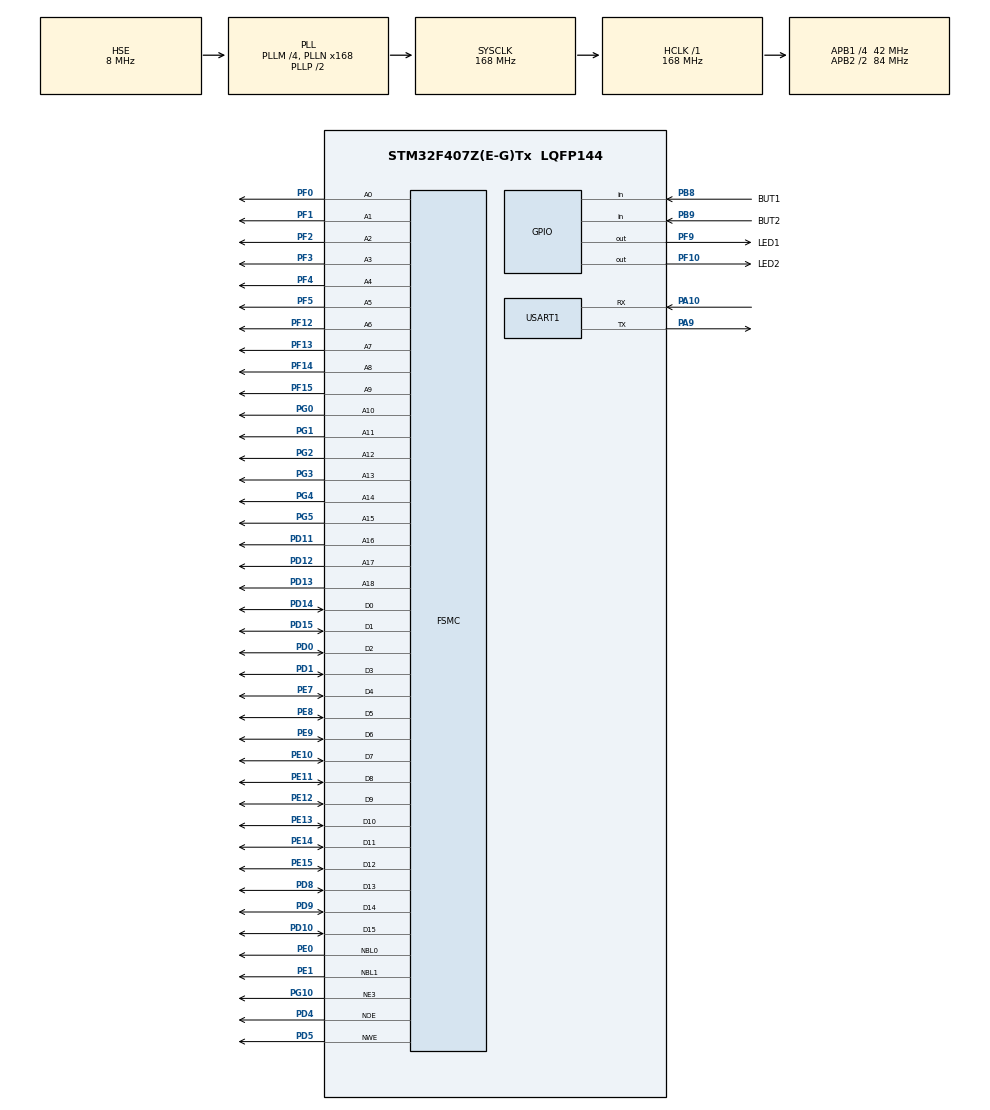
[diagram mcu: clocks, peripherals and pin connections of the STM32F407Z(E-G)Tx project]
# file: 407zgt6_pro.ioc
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FSMC.AddressSetupTime1=10
FSMC.BusTurnAroundDuration1=1
FSMC.DataSetupTime1=5
FSMC.WriteOperation1=FSMC_WRITE_OPERATION_ENABLE
Mcu.Family=STM32F4
Mcu.Name=STM32F407Z(E-G)Tx
Mcu.Package=LQFP144
NVIC.PriorityGroup=NVIC_PRIORITYGROUP_4
PA10.Mode=Asynchronous
PA10.Signal=USART1_RX
PA13.Mode=Trace_Asynchronous_SW
PA13.Signal=SYS_JTMS-SWDIO
PA14.Mode=Trace_Asynchronous_SW
PA14.Signal=SYS_JTCK-SWCLK
PA9.Mode=Asynchronous
PA9.Signal=USART1_TX
PB3.Mode=Trace_Asynchronous_SW
PB3.Signal=SYS_JTDO-SWO
PB8.GPIO_Label=BUT1
PB8.GPIO_PuPd=GPIO_PULLUP
PB8.Signal=GPIO_Input
PB9.GPIO_Label=BUT2
PB9.GPIO_PuPd=GPIO_PULLUP
PB9.Signal=GPIO_Input
PC14-OSC32_IN.Mode=LSE-External-Oscillator
PC14-OSC32_IN.Signal=RCC_OSC32_IN
PC15-OSC32_OUT.Mode=LSE-External-Oscillator
PC15-OSC32_OUT.Signal=RCC_OSC32_OUT
PD0.Signal=FSMC_D2_DA2
PD1.Signal=FSMC_D3_DA3
PD10.Signal=FSMC_D15_DA15
PD11.Signal=FSMC_A16_CLE
PD12.Signal=FSMC_A17_ALE
PD13.Signal=FSMC_A18
PD14.Signal=FSMC_D0_DA0
PD15.Signal=FSMC_D1_DA1
PD4.Signal=FSMC_NOE
PD5.Signal=FSMC_NWE
PD8.Signal=FSMC_D13_DA13
PD9.Signal=FSMC_D14_DA14
PE0.Signal=FSMC_NBL0
PE1.Signal=FSMC_NBL1
PE10.Signal=FSMC_D7_DA7
PE11.Signal=FSMC_D8_DA8
PE12.Signal=FSMC_D9_DA9
PE13.Signal=FSMC_D10_DA10
PE14.Signal=FSMC_D11_DA11
PE15.Signal=FSMC_D12_DA12
PE7.Signal=FSMC_D4_DA4
PE8.Signal=FSMC_D5_DA5
PE9.Signal=FSMC_D6_DA6
PF0.Signal=FSMC_A0
PF1.Signal=FSMC_A1
PF10.GPIO_Label=LED2
PF10.Signal=GPIO_Output
PF12.Signal=FSMC_A6
PF13.Signal=FSMC_A7
PF14.Signal=FSMC_A8
PF15.Signal=FSMC_A9
PF2.Signal=FSMC_A2
PF3.Signal=FSMC_A3
PF4.Signal=FSMC_A4
PF5.Signal=FSMC_A5
PF9.GPIO_Label=LED1
PF9.Signal=GPIO_Output
PG0.Signal=FSMC_A10
PG1.Signal=FSMC_A11
PG10.Mode=NorPsramChipSelect3_1
PG10.Signal=FSMC_NE3
PG2.Signal=FSMC_A12
PG3.Signal=FSMC_A13
PG4.Signal=FSMC_A14
PG5.Signal=FSMC_A15
PH0-OSC_IN.Mode=HSE-External-Oscillator
PH0-OSC_IN.Signal=RCC_OSC_IN
PH1-OSC_OUT.Mode=HSE-External-Oscillator
PH1-OSC_OUT.Signal=RCC_OSC_OUT
ProjectManager.HeapSize=0x200
ProjectManager.StackSize=0x400
ProjectManager.TargetToolchain=STM32CubeIDE
RCC.48MHZClocksFreq_Value=84000000
RCC.AHBFreq_Value=168000000
RCC.APB1CLKDivider=RCC_HCLK_DIV4
RCC.APB1Freq_Value=42000000
RCC.APB1TimFreq_Value=84000000
RCC.APB2CLKDivider=RCC_HCLK_DIV2
RCC.APB2Freq_Value=84000000
RCC.APB2TimFreq_Value=168000000
RCC.CortexFreq_Value=168000000
RCC.HCLKFreq_Value=168000000
RCC.HSE_VALUE=8000000
RCC.HSI_VALUE=16000000
RCC.PLLM=4
RCC.PLLN=168
RCC.PLLSourceVirtual=RCC_PLLSOURCE_HSE
RCC.SYSCLKFreq_VALUE=168000000
RCC.SYSCLKSource=RCC_SYSCLKSOURCE_PLLCLK
RCC.VCOOutputFreq_Value=336000000
SH.FSMC_A0.0=FSMC_A0,19b-a1
SH.FSMC_A1.0=FSMC_A1,19b-a1
SH.FSMC_A10.0=FSMC_A10,19b-a1
SH.FSMC_A11.0=FSMC_A11,19b-a1
SH.FSMC_A12.0=FSMC_A12,19b-a1
SH.FSMC_A13.0=FSMC_A13,19b-a1
SH.FSMC_A14.0=FSMC_A14,19b-a1
SH.FSMC_A15.0=FSMC_A15,19b-a1
SH.FSMC_A16_CLE.0=FSMC_A16,19b-a1
SH.FSMC_A17_ALE.0=FSMC_A17,19b-a1
SH.FSMC_A18.0=FSMC_A18,19b-a1
SH.FSMC_A2.0=FSMC_A2,19b-a1
SH.FSMC_A3.0=FSMC_A3,19b-a1
SH.FSMC_A4.0=FSMC_A4,19b-a1
SH.FSMC_A5.0=FSMC_A5,19b-a1
SH.FSMC_A6.0=FSMC_A6,19b-a1
SH.FSMC_A7.0=FSMC_A7,19b-a1
SH.FSMC_A8.0=FSMC_A8,19b-a1
SH.FSMC_A9.0=FSMC_A9,19b-a1
SH.FSMC_D0_DA0.0=FSMC_D0,16b-d1
SH.FSMC_D10_DA10.0=FSMC_D10,16b-d1
SH.FSMC_D11_DA11.0=FSMC_D11,16b-d1
SH.FSMC_D12_DA12.0=FSMC_D12,16b-d1
SH.FSMC_D13_DA13.0=FSMC_D13,16b-d1
SH.FSMC_D14_DA14.0=FSMC_D14,16b-d1
SH.FSMC_D15_DA15.0=FSMC_D15,16b-d1
SH.FSMC_D1_DA1.0=FSMC_D1,16b-d1
SH.FSMC_D2_DA2.0=FSMC_D2,16b-d1
SH.FSMC_D3_DA3.0=FSMC_D3,16b-d1
SH.FSMC_D4_DA4.0=FSMC_D4,16b-d1
SH.FSMC_D5_DA5.0=FSMC_D5,16b-d1
SH.FSMC_D6_DA6.0=FSMC_D6,16b-d1
SH.FSMC_D7_DA7.0=FSMC_D7,16b-d1
SH.FSMC_D8_DA8.0=FSMC_D8,16b-d1
SH.FSMC_D9_DA9.0=FSMC_D9,16b-d1
SH.FSMC_NBL0.0=FSMC_NBL0,2ByteEnable1
SH.FSMC_NBL1.0=FSMC_NBL1,2ByteEnable1
SH.FSMC_NOE.0=FSMC_NOE,Sram1
SH.FSMC_NWE.0=FSMC_NWE,Sram1
USART1.VirtualMode=VM_ASYNC
board=custom

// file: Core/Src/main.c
/* USER CODE BEGIN Header */
/**
  ******************************************************************************
  * @file           : main.c
  * @brief          : Main program body
  ******************************************************************************
  * @attention
  *
  * Copyright (c) 2023 STMicroelectronics.
  * All rights reserved.
  *
  * This software is licensed under terms that can be found in the LICENSE file
  * in the root directory of this software component.
  * If no LICENSE file comes with this software, it is provided AS-IS.
  *
  ******************************************************************************
  */
/* USER CODE END Header */
#include "main.h"

UART_HandleTypeDef huart1;

SRAM_HandleTypeDef hsram1;

void SystemClock_Config(void);
static void MX_GPIO_Init(void);
static void MX_FSMC_Init(void);
static void MX_USART1_UART_Init(void);
/* USER CODE BEGIN PFP */

int __io_putchar(int ch){
	HAL_UART_Transmit(&huart1, &ch, 1, 100);
}

/* USER CODE END PFP */

/* USER CODE BEGIN 0 */
volatile uint32_t testdatai[1024*102/4];
volatile uint32_t testdata[1024*1024/4];

/* USER CODE END 0 */

int main(void)
{

  /* MCU Configuration--------------------------------------------------------*/

  /* Reset of all peripherals, Initializes the Flash interface and the Systick. */
  HAL_Init();

  /* Configure the system clock */
  SystemClock_Config();

  /* Initialize all configured peripherals */
  MX_GPIO_Init();
  MX_FSMC_Init();
  MX_USART1_UART_Init();

  /* Infinite loop */
  /* USER CODE BEGIN WHILE */
  //HAL_UART_Transmit(&huart1, "Hello 3", 5, 100);
  printf("uart test 4\n");
  HAL_GPIO_TogglePin(LED1_GPIO_Port, LED1_Pin);
  uint16_t delay = 100;
  uint32_t t1,t2;
  uint32_t errors = 0;

  printf("internal ram\n"
		 "============\n");

  t1=HAL_GetTick();
   printf("SRAM write started at %d\n",t1);
   for(int j=0;j<10;j++)
   for(int i=0;i<102*1024/4;i++){
 	  testdatai[i] = i;
   }
   t2=HAL_GetTick();
   printf("SRAM write finished at %d\n",t2);
   printf("time = %d(ms) %d(kB/s)\n", t2-t1,1000000/(t2-t1));

   t1=HAL_GetTick();
   printf("SRAM read started at %d=\n",t1);
   for(int j=0;j<10;j++)
   for(int i=0;i<102*1024/4;i++){
 	  if(testdatai[i] != i) errors++;
   }
   t2=HAL_GetTick();
   printf("SRAM read finished at %d\n",t2);
   printf("SRAM errors %d\n",errors);
   printf("time = %d(ms) %d(kB/s)\n", t2-t1,1000000/(t2-t1));

   printf("external sram\n"
   		 "==============\n");

  t1=HAL_GetTick();
  printf("SRAM write started at %d\n",t1);

  for(int i=0;i<1024*1024/4;i++){
	  testdata[i] = i;
  }
  t2=HAL_GetTick();
  printf("SRAM write finished at %d\n",t2);
  printf("time = %d(ms) %d(kB/s)\n", t2-t1,1000000/(t2-t1));

  t1=HAL_GetTick();
  printf("SRAM read started at %d=\n",t1);
  for(int i=0;i<1024*1024/4;i++){
	  if(testdata[i] != i) errors++;
  }
  t2=HAL_GetTick();
  printf("SRAM read finished at %d\n",t2);
  printf("SRAM errors %d\n",errors);
  printf("time = %d(ms) %d(kB/s)\n", t2-t1,1000000/(t2-t1));

  while (1)
  {
    /* USER CODE END WHILE */

    /* USER CODE BEGIN 3 */
	  if(HAL_GPIO_ReadPin(BUT1_GPIO_Port,BUT1_Pin)==0) delay = 200;
	  if(HAL_GPIO_ReadPin(BUT2_GPIO_Port,BUT2_Pin)==0) delay = 500;
	  HAL_GPIO_TogglePin(LED1_GPIO_Port, LED1_Pin);
	  HAL_GPIO_TogglePin(LED2_GPIO_Port, LED2_Pin);
	  HAL_Delay(delay);
	  HAL_UART_Transmit(&huart1, ".", 1, 100);
  }
  /* USER CODE END 3 */
}

void SystemClock_Config(void)
{
  RCC_OscInitTypeDef RCC_OscInitStruct = {0};
  RCC_ClkInitTypeDef RCC_ClkInitStruct = {0};

  /** Configure the main internal regulator output voltage
  */
  __HAL_RCC_PWR_CLK_ENABLE();
  __HAL_PWR_VOLTAGESCALING_CONFIG(PWR_REGULATOR_VOLTAGE_SCALE1);

  /** Initializes the RCC Oscillators according to the specified parameters
  * in the RCC_OscInitTypeDef structure.
  */
  RCC_OscInitStruct.OscillatorType = RCC_OSCILLATORTYPE_HSE;
  RCC_OscInitStruct.HSEState = RCC_HSE_ON;
  RCC_OscInitStruct.PLL.PLLState = RCC_PLL_ON;
  RCC_OscInitStruct.PLL.PLLSource = RCC_PLLSOURCE_HSE;
  RCC_OscInitStruct.PLL.PLLM = 4;
  RCC_OscInitStruct.PLL.PLLN = 168;
  RCC_OscInitStruct.PLL.PLLP = RCC_PLLP_DIV2;
  RCC_OscInitStruct.PLL.PLLQ = 4;
  if (HAL_RCC_OscConfig(&RCC_OscInitStruct) != HAL_OK)
  {
    Error_Handler();
  }

  /** Initializes the CPU, AHB and APB buses clocks
  */
  RCC_ClkInitStruct.ClockType = RCC_CLOCKTYPE_HCLK|RCC_CLOCKTYPE_SYSCLK
                              |RCC_CLOCKTYPE_PCLK1|RCC_CLOCKTYPE_PCLK2;
  RCC_ClkInitStruct.SYSCLKSource = RCC_SYSCLKSOURCE_PLLCLK;
  RCC_ClkInitStruct.AHBCLKDivider = RCC_SYSCLK_DIV1;
  RCC_ClkInitStruct.APB1CLKDivider = RCC_HCLK_DIV4;
  RCC_ClkInitStruct.APB2CLKDivider = RCC_HCLK_DIV2;

  if (HAL_RCC_ClockConfig(&RCC_ClkInitStruct, FLASH_LATENCY_5) != HAL_OK)
  {
    Error_Handler();
  }
}

static void MX_USART1_UART_Init(void)
{

  huart1.Instance = USART1;
  huart1.Init.BaudRate = 115200;
  huart1.Init.WordLength = UART_WORDLENGTH_8B;
  huart1.Init.StopBits = UART_STOPBITS_1;
  huart1.Init.Parity = UART_PARITY_NONE;
  huart1.Init.Mode = UART_MODE_TX_RX;
  huart1.Init.HwFlowCtl = UART_HWCONTROL_NONE;
  huart1.Init.OverSampling = UART_OVERSAMPLING_16;
  if (HAL_UART_Init(&huart1) != HAL_OK)
  {
    Error_Handler();
  }

}

static void MX_GPIO_Init(void)
{
  GPIO_InitTypeDef GPIO_InitStruct = {0};

  /* GPIO Ports Clock Enable */
  __HAL_RCC_GPIOC_CLK_ENABLE();
  __HAL_RCC_GPIOF_CLK_ENABLE();
  __HAL_RCC_GPIOH_CLK_ENABLE();
  __HAL_RCC_GPIOG_CLK_ENABLE();
  __HAL_RCC_GPIOE_CLK_ENABLE();
  __HAL_RCC_GPIOD_CLK_ENABLE();
  __HAL_RCC_GPIOA_CLK_ENABLE();
  __HAL_RCC_GPIOB_CLK_ENABLE();

  /*Configure GPIO pin Output Level */
  HAL_GPIO_WritePin(GPIOF, LED1_Pin|LED2_Pin, GPIO_PIN_RESET);

  /*Configure GPIO pins : LED1_Pin LED2_Pin */
  GPIO_InitStruct.Pin = LED1_Pin|LED2_Pin;
  GPIO_InitStruct.Mode = GPIO_MODE_OUTPUT_PP;
  GPIO_InitStruct.Pull = GPIO_NOPULL;
  GPIO_InitStruct.Speed = GPIO_SPEED_FREQ_LOW;
  HAL_GPIO_Init(GPIOF, &GPIO_InitStruct);

  /*Configure GPIO pins : BUT1_Pin BUT2_Pin */
  GPIO_InitStruct.Pin = BUT1_Pin|BUT2_Pin;
  GPIO_InitStruct.Mode = GPIO_MODE_INPUT;
  GPIO_InitStruct.Pull = GPIO_PULLUP;
  HAL_GPIO_Init(GPIOB, &GPIO_InitStruct);

}

/* FSMC initialization function */
static void MX_FSMC_Init(void)
{

  FSMC_NORSRAM_TimingTypeDef Timing = {0};

  /** Perform the SRAM1 memory initialization sequence
  */
  hsram1.Instance = FSMC_NORSRAM_DEVICE;
  hsram1.Extended = FSMC_NORSRAM_EXTENDED_DEVICE;
  /* hsram1.Init */
  hsram1.Init.NSBank = FSMC_NORSRAM_BANK3;
  hsram1.Init.DataAddressMux = FSMC_DATA_ADDRESS_MUX_DISABLE;
  hsram1.Init.MemoryType = FSMC_MEMORY_TYPE_SRAM;
  hsram1.Init.MemoryDataWidth = FSMC_NORSRAM_MEM_BUS_WIDTH_16;
  hsram1.Init.BurstAccessMode = FSMC_BURST_ACCESS_MODE_DISABLE;
  hsram1.Init.WaitSignalPolarity = FSMC_WAIT_SIGNAL_POLARITY_LOW;
  hsram1.Init.WrapMode = FSMC_WRAP_MODE_DISABLE;
  hsram1.Init.WaitSignalActive = FSMC_WAIT_TIMING_BEFORE_WS;
  hsram1.Init.WriteOperation = FSMC_WRITE_OPERATION_ENABLE;
  hsram1.Init.WaitSignal = FSMC_WAIT_SIGNAL_DISABLE;
  hsram1.Init.ExtendedMode = FSMC_EXTENDED_MODE_DISABLE;
  hsram1.Init.AsynchronousWait = FSMC_ASYNCHRONOUS_WAIT_DISABLE;
  hsram1.Init.WriteBurst = FSMC_WRITE_BURST_DISABLE;
  hsram1.Init.PageSize = FSMC_PAGE_SIZE_NONE;
  /* Timing */
  Timing.AddressSetupTime = 10;
  Timing.AddressHoldTime = 15;
  Timing.DataSetupTime = 5;
  Timing.BusTurnAroundDuration = 1;
  Timing.CLKDivision = 16;
  Timing.DataLatency = 17;
  Timing.AccessMode = FSMC_ACCESS_MODE_A;
  /* ExtTiming */

  if (HAL_SRAM_Init(&hsram1, &Timing, NULL) != HAL_OK)
  {
    Error_Handler( );
  }

}

void Error_Handler(void)
{
  __disable_irq();
  while (1)
  {
  }
}
